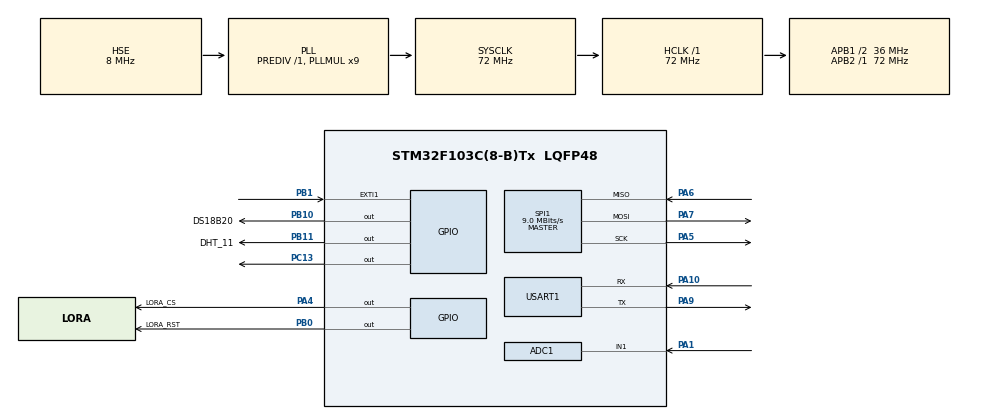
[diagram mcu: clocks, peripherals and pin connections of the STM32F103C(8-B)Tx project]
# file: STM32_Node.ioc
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ADC1.Channel-0\#ChannelRegularConversion=ADC_CHANNEL_1
ADC1.NbrOfConversionFlag=1
ADC1.Rank-0\#ChannelRegularConversion=1
ADC1.SamplingTime-0\#ChannelRegularConversion=ADC_SAMPLETIME_1CYCLE_5
ADC1.master=1
Mcu.Family=STM32F1
Mcu.Name=STM32F103C(8-B)Tx
Mcu.Package=LQFP48
NVIC.EXTI1_IRQn=true\:0\:0\:false\:false\:true\:true\:true\:true
NVIC.PriorityGroup=NVIC_PRIORITYGROUP_4
PA1.Signal=ADCx_IN1
PA10.Mode=Asynchronous
PA10.Signal=USART1_RX
PA13.Mode=Serial_Wire
PA13.Signal=SYS_JTMS-SWDIO
PA14.Mode=Serial_Wire
PA14.Signal=SYS_JTCK-SWCLK
PA4.GPIO_Label=LORA_CS
PA4.GPIO_Speed=GPIO_SPEED_FREQ_HIGH
PA4.PinState=GPIO_PIN_SET
PA4.Signal=GPIO_Output
PA5.Mode=Full_Duplex_Master
PA5.Signal=SPI1_SCK
PA6.Mode=Full_Duplex_Master
PA6.Signal=SPI1_MISO
PA7.Mode=Full_Duplex_Master
PA7.Signal=SPI1_MOSI
PA9.Mode=Asynchronous
PA9.Signal=USART1_TX
PB0.GPIO_Label=LORA_RST
PB0.GPIO_Speed=GPIO_SPEED_FREQ_HIGH
PB0.PinState=GPIO_PIN_SET
PB0.Signal=GPIO_Output
PB1.Signal=GPXTI1
PB10.GPIO_Label=DS18B20
PB10.GPIO_ModeDefaultOutputPP=GPIO_MODE_OUTPUT_OD
PB10.GPIO_PuPd=GPIO_NOPULL
PB10.Signal=GPIO_Output
PB11.GPIO_Label=DHT_11
PB11.PinState=GPIO_PIN_SET
PB11.Signal=GPIO_Output
PC13-TAMPER-RTC.Signal=GPIO_Output
PD0-OSC_IN.Mode=HSE-External-Oscillator
PD0-OSC_IN.Signal=RCC_OSC_IN
PD1-OSC_OUT.Mode=HSE-External-Oscillator
PD1-OSC_OUT.Signal=RCC_OSC_OUT
ProjectManager.HeapSize=0x200
ProjectManager.StackSize=0x400
ProjectManager.TargetToolchain=STM32CubeIDE
RCC.ADCPresc=RCC_ADCPCLK2_DIV6
RCC.AHBFreq_Value=72000000
RCC.APB1CLKDivider=RCC_HCLK_DIV2
RCC.APB1Freq_Value=36000000
RCC.APB1TimFreq_Value=72000000
RCC.APB2Freq_Value=72000000
RCC.APB2TimFreq_Value=72000000
RCC.HCLKFreq_Value=72000000
RCC.PLLMUL=RCC_PLL_MUL9
RCC.PLLSourceVirtual=RCC_PLLSOURCE_HSE
RCC.SYSCLKFreq_VALUE=72000000
RCC.SYSCLKSource=RCC_SYSCLKSOURCE_PLLCLK
RCC.USBFreq_Value=72000000
SH.ADCx_IN1.0=ADC1_IN1,IN1
SPI1.BaudRatePrescaler=SPI_BAUDRATEPRESCALER_8
SPI1.CalculateBaudRate=9.0 MBits/s
SPI1.Direction=SPI_DIRECTION_2LINES
SPI1.Mode=SPI_MODE_MASTER
SPI1.VirtualType=VM_MASTER
USART1.VirtualMode=VM_ASYNC
board=custom

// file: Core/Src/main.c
/* USER CODE BEGIN Header */
/**
  ******************************************************************************
  * @file           : main.c
  * @brief          : Main program body
  ******************************************************************************
  * @attention
  *
  * Copyright (c) 2025 STMicroelectronics.
  * All rights reserved.
  *
  * This software is licensed under terms that can be found in the LICENSE file
  * in the root directory of this software component.
  * If no LICENSE file comes with this software, it is provided AS-IS.
  *
  ******************************************************************************
  */
/* USER CODE END Header */
#include "main.h"

/* USER CODE BEGIN Includes */
#include <stdio.h>
#include <stdlib.h>
#include <string.h>
#include <SMS_Sensors.h>
#include <DHT11_Sensors.h>
#include <protocol.h>
#include "SX1278.h"
#include <DS18B20_Sensors.h>
/* USER CODE END Includes */

ADC_HandleTypeDef hadc1;

SPI_HandleTypeDef hspi1;

UART_HandleTypeDef huart1;

/* USER CODE BEGIN PV */
SMS_Data_t result;
SX1278_hw_t SX1278_hw;
SX1278_t SX1278;
int master;
int ret;
uint8_t buffer[512];
int message;
int message_length;
/* USER CODE END PV */

void SystemClock_Config(void);
static void MX_GPIO_Init(void);
static void MX_ADC1_Init(void);
static void MX_USART1_UART_Init(void);
static void MX_SPI1_Init(void);
/* USER CODE BEGIN PFP */
void ReadAllSensors(void);
void Set_RTC_Alarm(uint32_t seconds);
// Chuyển hướng printf sang UART1
int _write(int file, char *ptr, int len) {
    HAL_UART_Transmit(&huart1, (uint8_t*) ptr, len, HAL_MAX_DELAY);
    return len;
}

void ReadAllSensors(void) {
    // 1. Đọc cảm biến độ ẩm đất (Analog)
    SMS_Data_t soil_data = read_SMS_V1(&hadc1);

    // 2. Đọc cảm biến DHT11 (Môi trường)
    DHT11_Data_t dht_data = DHT11_Read(DHT_11_GPIO_Port, DHT_11_Pin);

    // 3. LẤY KẾT QUẢ DS18B20 (Đã được kích hoạt đo từ lúc nhận SYNC)
    float ds_temp = DS18B20_GetTempResult();

    // 4. In dữ liệu debug qua UART (Dùng cách tách nguyên/thập phân để an toàn)
    printf("\r\n--- GUI DU LIEU SLOT %d ---\r\n", Node_assigned_slot);

    // In độ ẩm đất
    printf("Soil Moist: %d%%\r\n", soil_data.moist_pct);

    // In DHT11 (Nhiệt độ/Độ ẩm môi trường)
    int t_int = (int)dht_data.Temperature;
    int t_dec = abs((int)(dht_data.Temperature * 10) % 10);
    printf("Env: %d.%d C | Hum: %d%%\r\n", t_int, t_dec, (int)dht_data.Humidity);

    // In DS18B20 (Nhiệt độ đất/nước)
    int ds_int = (int)ds_temp;
    int ds_dec = abs((int)(ds_temp * 10) % 10);
    printf("Soil Temp: %d.%d C\r\n", ds_int, ds_dec);

    // 5. GỬI DỮ LIỆU QUA LORA (Chỉ còn 5 tham số, đã bỏ Pin)
    // Thứ tự: ID, Temp_Env, Hum_Env, Temp_Soil, Hum_Soil
    Send_Sensor_Data(Node_assigned_slot,
                     dht_data.Temperature,
                     dht_data.Humidity,
                     ds_temp,
                     (float)soil_data.moist_pct);

    printf(">>> LoRa: Da gui goi DATA (11 bytes) len Gateway\r\n");
    printf("--------------------------\r\n");
}

void Check_STM32_UUID(void) {
      // STM32F103 có 96-bit UID nằm tại địa chỉ 0x1FFFF7E8
      uint32_t uid0 = *(uint32_t*)(0x1FFFF7E8);
      uint32_t uid1 = *(uint32_t*)(0x1FFFF7EC);
      uint32_t uid2 = *(uint32_t*)(0x1FFFF7F0);

      // In ra dạng Hex để dễ quan sát
      printf("STM32 Unique ID: %08X-%08X-%08X\r\n", uid0, uid1, uid2);
  }
/* USER CODE END PFP */

int main(void)
{

  /* MCU Configuration--------------------------------------------------------*/

  /* Reset of all peripherals, Initializes the Flash interface and the Systick. */
  HAL_Init();

  /* Configure the system clock */
  SystemClock_Config();

  /* Initialize all configured peripherals */
  MX_GPIO_Init();
  MX_ADC1_Init();
  MX_USART1_UART_Init();
  MX_SPI1_Init();
  /* USER CODE BEGIN 2 */
//  master = HAL_GPIO_ReadPin(GPIOB, GPIO_PIN_0);
//
//  if (master == GPIO_PIN_SET) {
//	  printf("Mode: Master (Sender)\r\n");
//  } else {
//	  printf("Mode: Slave (Receiver)\r\n");
//  }

  // Gán cấu hình phần cứng cho thư viện SX1278
  SX1278_hw.dio0.port = GPIOB;
  SX1278_hw.dio0.pin = GPIO_PIN_1;
  SX1278_hw.nss.port = GPIOA;
  SX1278_hw.nss.pin = GPIO_PIN_4;
  SX1278_hw.reset.port = GPIOB;
  SX1278_hw.reset.pin = GPIO_PIN_0;
  SX1278_hw.spi = &hspi1;

  SX1278.hw = &SX1278_hw;
  printf("Checking LoRa Connection...\r\n");
  printf("Configuring LoRa module...\r\n");
  // Cấu hình: 433MHz, 17dBm, SF7, BW 125kHz, CR 4/5, CRC ON
  SX1278_init(&SX1278, 433000000, SX1278_POWER_17DBM, SX1278_LORA_SF_7,
			  SX1278_LORA_BW_125KHZ, SX1278_LORA_CR_4_5, SX1278_LORA_CRC_EN, 12);
  printf("Done configuring LoRa Module.\r\n");

//  if (ret > 0) {
//	  printf("LoRa Connection: OK! (Return code: %d)\r\n", ret);
//  } else {
//	  printf("LoRa Connection: FAILED! (Return code: %d)\r\n", ret);
//	  printf("Please check wiring and SPI configuration.\r\n");
//  }

  if(DS18B20_Init()) {
      printf("DS18B20 Found!\n");
  }
  Check_STM32_UUID();
//  SX1278_receive(&SX1278, (uint8_t)sizeof(buffer), 1000);
//  printf("LoRa listening for SYNC...\n");
  SX1278_receive(&SX1278, 12, 1000); // Bắt đầu nghe
  /* USER CODE END 2 */

  /* Infinite loop */
  /* USER CODE BEGIN WHILE */
  /* Infinite loop */
    /* USER CODE BEGIN WHILE */
  /* Infinite loop */
    while (1)
    {
        uint32_t now = HAL_GetTick();

        // 1. Ưu tiên lắng nghe LoRa
        if (SX1278_available(&SX1278)) {
            // Đọc đủ 16 bytes để không sót dữ liệu JOIN_ACK
            int len = SX1278_read(&SX1278, buffer, 16);

            // Kiểm tra Header 0xAA để lọc nhiễu
            if (len > 0 && buffer[0] == 0xAA) {
                if (buffer[1] == PKT_SYNC) {
                    handle_sync_packet(buffer);
                }
                else if (buffer[1] == PKT_JOIN_ACK) {
                    handle_join_ack(buffer);
                }
            }

            // Quay lại chế độ nhận 16 bytes ngay lập tức
            SX1278_receive(&SX1278, 16, 1000);
        }

        // 2. Kiểm tra đến mốc thời gian hành động
        if (target_action_time != 0 && now >= target_action_time) {
            uint32_t current_action_time = target_action_time; // Lưu lại mốc hiện tại
            target_action_time = 0; // Xóa mốc ngay để tránh re-trigger

            // TRƯỜNG HỢP A: Gửi JOIN REQUEST
            if (node_state == STATE_WAIT_TO_JOIN) {
                printf(">>> Đang gửi Join Request (96-bit UUID)...\r\n");
                Send_Join_Request();
                node_state = STATE_IDLE; // Chuyển sang trạng thái chờ phản hồi

                // Cực kỳ quan trọng: Mở cửa sổ nhận JOIN_ACK 16 bytes
                SX1278_receive(&SX1278, 16, 2000);
            }

            // TRƯỜNG HỢP B: Gửi DATA cảm biến
            else if (node_state == STATE_WAIT_MY_SLOT) {
                printf(">>> Đến Slot %d! Đang gửi DATA...\r\n", Node_assigned_slot);
                ReadAllSensors();
                node_state = STATE_IDLE;

                // Quay lại nghe để chờ gói SYNC của chu kỳ tiếp theo
                SX1278_receive(&SX1278, 16, 1000);
            }
        }
    }

  }
  /* USER CODE END 3 */

void SystemClock_Config(void)
{
  RCC_OscInitTypeDef RCC_OscInitStruct = {0};
  RCC_ClkInitTypeDef RCC_ClkInitStruct = {0};
  RCC_PeriphCLKInitTypeDef PeriphClkInit = {0};

  /** Initializes the RCC Oscillators according to the specified parameters
  * in the RCC_OscInitTypeDef structure.
  */
  RCC_OscInitStruct.OscillatorType = RCC_OSCILLATORTYPE_HSE;
  RCC_OscInitStruct.HSEState = RCC_HSE_ON;
  RCC_OscInitStruct.HSEPredivValue = RCC_HSE_PREDIV_DIV1;
  RCC_OscInitStruct.HSIState = RCC_HSI_ON;
  RCC_OscInitStruct.PLL.PLLState = RCC_PLL_ON;
  RCC_OscInitStruct.PLL.PLLSource = RCC_PLLSOURCE_HSE;
  RCC_OscInitStruct.PLL.PLLMUL = RCC_PLL_MUL9;
  if (HAL_RCC_OscConfig(&RCC_OscInitStruct) != HAL_OK)
  {
    Error_Handler();
  }

  /** Initializes the CPU, AHB and APB buses clocks
  */
  RCC_ClkInitStruct.ClockType = RCC_CLOCKTYPE_HCLK|RCC_CLOCKTYPE_SYSCLK
                              |RCC_CLOCKTYPE_PCLK1|RCC_CLOCKTYPE_PCLK2;
  RCC_ClkInitStruct.SYSCLKSource = RCC_SYSCLKSOURCE_PLLCLK;
  RCC_ClkInitStruct.AHBCLKDivider = RCC_SYSCLK_DIV1;
  RCC_ClkInitStruct.APB1CLKDivider = RCC_HCLK_DIV2;
  RCC_ClkInitStruct.APB2CLKDivider = RCC_HCLK_DIV1;

  if (HAL_RCC_ClockConfig(&RCC_ClkInitStruct, FLASH_LATENCY_2) != HAL_OK)
  {
    Error_Handler();
  }
  PeriphClkInit.PeriphClockSelection = RCC_PERIPHCLK_ADC;
  PeriphClkInit.AdcClockSelection = RCC_ADCPCLK2_DIV6;
  if (HAL_RCCEx_PeriphCLKConfig(&PeriphClkInit) != HAL_OK)
  {
    Error_Handler();
  }
}

static void MX_ADC1_Init(void)
{

  ADC_ChannelConfTypeDef sConfig = {0};

  /** Common config
  */
  hadc1.Instance = ADC1;
  hadc1.Init.ScanConvMode = ADC_SCAN_DISABLE;
  hadc1.Init.ContinuousConvMode = DISABLE;
  hadc1.Init.DiscontinuousConvMode = DISABLE;
  hadc1.Init.ExternalTrigConv = ADC_SOFTWARE_START;
  hadc1.Init.DataAlign = ADC_DATAALIGN_RIGHT;
  hadc1.Init.NbrOfConversion = 1;
  if (HAL_ADC_Init(&hadc1) != HAL_OK)
  {
    Error_Handler();
  }

  /** Configure Regular Channel
  */
  sConfig.Channel = ADC_CHANNEL_1;
  sConfig.Rank = ADC_REGULAR_RANK_1;
  sConfig.SamplingTime = ADC_SAMPLETIME_1CYCLE_5;
  if (HAL_ADC_ConfigChannel(&hadc1, &sConfig) != HAL_OK)
  {
    Error_Handler();
  }

}

static void MX_SPI1_Init(void)
{

  /* SPI1 parameter configuration*/
  hspi1.Instance = SPI1;
  hspi1.Init.Mode = SPI_MODE_MASTER;
  hspi1.Init.Direction = SPI_DIRECTION_2LINES;
  hspi1.Init.DataSize = SPI_DATASIZE_8BIT;
  hspi1.Init.CLKPolarity = SPI_POLARITY_LOW;
  hspi1.Init.CLKPhase = SPI_PHASE_1EDGE;
  hspi1.Init.NSS = SPI_NSS_SOFT;
  hspi1.Init.BaudRatePrescaler = SPI_BAUDRATEPRESCALER_8;
  hspi1.Init.FirstBit = SPI_FIRSTBIT_MSB;
  hspi1.Init.TIMode = SPI_TIMODE_DISABLE;
  hspi1.Init.CRCCalculation = SPI_CRCCALCULATION_DISABLE;
  hspi1.Init.CRCPolynomial = 10;
  if (HAL_SPI_Init(&hspi1) != HAL_OK)
  {
    Error_Handler();
  }

}

static void MX_USART1_UART_Init(void)
{

  huart1.Instance = USART1;
  huart1.Init.BaudRate = 115200;
  huart1.Init.WordLength = UART_WORDLENGTH_8B;
  huart1.Init.StopBits = UART_STOPBITS_1;
  huart1.Init.Parity = UART_PARITY_NONE;
  huart1.Init.Mode = UART_MODE_TX_RX;
  huart1.Init.HwFlowCtl = UART_HWCONTROL_NONE;
  huart1.Init.OverSampling = UART_OVERSAMPLING_16;
  if (HAL_UART_Init(&huart1) != HAL_OK)
  {
    Error_Handler();
  }

}

static void MX_GPIO_Init(void)
{
  GPIO_InitTypeDef GPIO_InitStruct = {0};

  /* GPIO Ports Clock Enable */
  __HAL_RCC_GPIOC_CLK_ENABLE();
  __HAL_RCC_GPIOD_CLK_ENABLE();
  __HAL_RCC_GPIOA_CLK_ENABLE();
  __HAL_RCC_GPIOB_CLK_ENABLE();

  /*Configure GPIO pin Output Level */
  HAL_GPIO_WritePin(GPIOC, GPIO_PIN_13, GPIO_PIN_RESET);

  /*Configure GPIO pin Output Level */
  HAL_GPIO_WritePin(LORA_CS_GPIO_Port, LORA_CS_Pin, GPIO_PIN_SET);

  /*Configure GPIO pin Output Level */
  HAL_GPIO_WritePin(GPIOB, LORA_RST_Pin|DHT_11_Pin, GPIO_PIN_SET);

  /*Configure GPIO pin Output Level */
  HAL_GPIO_WritePin(DS18B20_GPIO_Port, DS18B20_Pin, GPIO_PIN_RESET);

  /*Configure GPIO pin : PC13 */
  GPIO_InitStruct.Pin = GPIO_PIN_13;
  GPIO_InitStruct.Mode = GPIO_MODE_OUTPUT_PP;
  GPIO_InitStruct.Pull = GPIO_NOPULL;
  GPIO_InitStruct.Speed = GPIO_SPEED_FREQ_LOW;
  HAL_GPIO_Init(GPIOC, &GPIO_InitStruct);

  /*Configure GPIO pin : LORA_CS_Pin */
  GPIO_InitStruct.Pin = LORA_CS_Pin;
  GPIO_InitStruct.Mode = GPIO_MODE_OUTPUT_PP;
  GPIO_InitStruct.Pull = GPIO_NOPULL;
  GPIO_InitStruct.Speed = GPIO_SPEED_FREQ_HIGH;
  HAL_GPIO_Init(LORA_CS_GPIO_Port, &GPIO_InitStruct);

  /*Configure GPIO pin : LORA_RST_Pin */
  GPIO_InitStruct.Pin = LORA_RST_Pin;
  GPIO_InitStruct.Mode = GPIO_MODE_OUTPUT_PP;
  GPIO_InitStruct.Pull = GPIO_NOPULL;
  GPIO_InitStruct.Speed = GPIO_SPEED_FREQ_HIGH;
  HAL_GPIO_Init(LORA_RST_GPIO_Port, &GPIO_InitStruct);

  /*Configure GPIO pin : PB1 */
  GPIO_InitStruct.Pin = GPIO_PIN_1;
  GPIO_InitStruct.Mode = GPIO_MODE_IT_RISING;
  GPIO_InitStruct.Pull = GPIO_NOPULL;
  HAL_GPIO_Init(GPIOB, &GPIO_InitStruct);

  /*Configure GPIO pin : DS18B20_Pin */
  GPIO_InitStruct.Pin = DS18B20_Pin;
  GPIO_InitStruct.Mode = GPIO_MODE_OUTPUT_OD;
  GPIO_InitStruct.Pull = GPIO_NOPULL;
  GPIO_InitStruct.Speed = GPIO_SPEED_FREQ_LOW;
  HAL_GPIO_Init(DS18B20_GPIO_Port, &GPIO_InitStruct);

  /*Configure GPIO pin : DHT_11_Pin */
  GPIO_InitStruct.Pin = DHT_11_Pin;
  GPIO_InitStruct.Mode = GPIO_MODE_OUTPUT_PP;
  GPIO_InitStruct.Pull = GPIO_NOPULL;
  GPIO_InitStruct.Speed = GPIO_SPEED_FREQ_LOW;
  HAL_GPIO_Init(DHT_11_GPIO_Port, &GPIO_InitStruct);

  /* EXTI interrupt init*/
  HAL_NVIC_SetPriority(EXTI1_IRQn, 0, 0);
  HAL_NVIC_EnableIRQ(EXTI1_IRQn);

}

void Error_Handler(void)
{
  __disable_irq();
  while (1)
  {
  }
}
